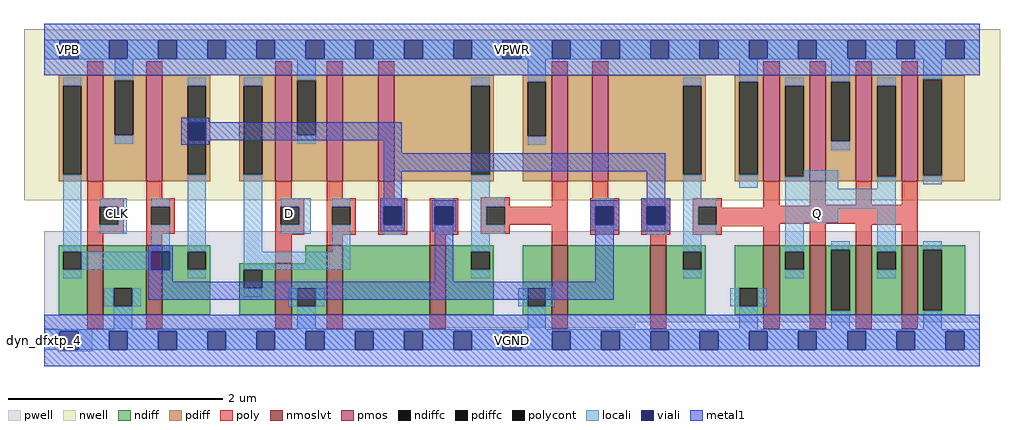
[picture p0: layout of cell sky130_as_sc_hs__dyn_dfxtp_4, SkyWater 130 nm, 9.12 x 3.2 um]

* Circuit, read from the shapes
.subckt sky130_as_sc_hs__dyn_dfxtp_4 VNB VPB VPWR VGND CLK D Q
XM1 VGND CLK n1 VNB sky130_fd_pr__nfet_01v8_lvt w=0.65 l=0.15
XM2 n2 n1 VGND VNB sky130_fd_pr__nfet_01v8_lvt w=0.65 l=0.15
XM3 VGND D n3 VNB sky130_fd_pr__nfet_01v8_lvt w=0.48 l=0.15
XM4 n4 n3 VGND VNB sky130_fd_pr__nfet_01v8_lvt w=0.65 l=0.15
XM5 n5 n1 n4 VNB sky130_fd_pr__nfet_01v8_lvt w=0.65 l=0.15
XM6 n6 n5 VGND VNB sky130_fd_pr__nfet_01v8_lvt w=0.65 l=0.15
XM7 n7 n2 n6 VNB sky130_fd_pr__nfet_01v8_lvt w=0.65 l=0.15
XM8 Q n7 VGND VNB sky130_fd_pr__nfet_01v8_lvt w=0.65 l=0.15 m=4
XM9 VPWR CLK n1 VPB sky130_fd_pr__pfet_01v8 w=0.99 l=0.15
XM10 n2 n1 VPWR VPB sky130_fd_pr__pfet_01v8 w=0.99 l=0.15
XM11 VPWR D n3 VPB sky130_fd_pr__pfet_01v8 w=0.99 l=0.15
XM12 n8 n3 VPWR VPB sky130_fd_pr__pfet_01v8 w=0.99 l=0.15
XM13 n5 n2 n8 VPB sky130_fd_pr__pfet_01v8 w=0.99 l=0.15
XM14 n9 n5 VPWR VPB sky130_fd_pr__pfet_01v8 w=0.99 l=0.15
XM15 n7 n1 n9 VPB sky130_fd_pr__pfet_01v8 w=0.99 l=0.15
XM16 Q n7 VPWR VPB sky130_fd_pr__pfet_01v8 w=0.99 l=0.15 m=4
.ends

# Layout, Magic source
magic
tech sky130A
magscale 1 2
<< nwell >>
rect -38 262 1786 582
<< pwell >>
rect 0 34 1748 204
rect 0 24 1104 34
rect 0 22 736 24
rect 26 -20 90 22
<< pmos >>
rect 80 298 110 496
rect 190 298 220 496
rect 432 298 462 496
rect 528 298 558 496
rect 624 298 654 496
rect 948 298 978 496
rect 1024 298 1054 496
rect 1344 298 1374 496
rect 1430 298 1460 496
rect 1516 298 1546 496
rect 1602 298 1632 496
<< nmoslvt >>
rect 80 48 110 178
rect 190 48 220 178
rect 432 48 462 144
rect 528 48 558 178
rect 720 48 750 178
rect 948 48 978 178
rect 1132 48 1162 178
rect 1344 48 1374 178
rect 1430 48 1460 178
rect 1516 48 1546 178
rect 1602 48 1632 178
<< ndiff >>
rect 27 166 80 178
rect 27 132 35 166
rect 69 132 80 166
rect 27 48 80 132
rect 110 98 190 178
rect 110 64 130 98
rect 164 64 190 98
rect 110 48 190 64
rect 220 166 310 178
rect 220 132 268 166
rect 302 132 310 166
rect 488 144 528 178
rect 220 48 310 132
rect 364 132 432 144
rect 364 98 373 132
rect 407 98 432 132
rect 364 48 432 98
rect 462 98 528 144
rect 462 64 473 98
rect 507 64 528 98
rect 462 48 528 64
rect 558 48 720 178
rect 750 166 840 178
rect 750 132 798 166
rect 832 132 840 166
rect 750 48 840 132
rect 894 98 948 178
rect 894 64 903 98
rect 937 64 948 98
rect 894 48 948 64
rect 978 48 1132 178
rect 1162 166 1236 178
rect 1162 132 1194 166
rect 1228 132 1236 166
rect 1162 48 1236 132
rect 1290 98 1344 178
rect 1290 64 1299 98
rect 1333 64 1344 98
rect 1290 48 1344 64
rect 1374 166 1430 178
rect 1374 132 1385 166
rect 1419 132 1430 166
rect 1374 48 1430 132
rect 1460 170 1516 178
rect 1460 56 1471 170
rect 1505 56 1516 170
rect 1460 48 1516 56
rect 1546 166 1602 178
rect 1546 132 1557 166
rect 1591 132 1602 166
rect 1546 48 1602 132
rect 1632 170 1721 178
rect 1632 56 1643 170
rect 1677 56 1721 170
rect 1632 48 1721 56
<< pdiff >>
rect 27 476 80 496
rect 27 310 35 476
rect 69 310 80 476
rect 27 298 80 310
rect 110 486 190 496
rect 110 384 132 486
rect 166 384 190 486
rect 110 298 190 384
rect 220 476 310 496
rect 220 310 268 476
rect 302 310 310 476
rect 220 298 310 310
rect 364 476 432 496
rect 364 310 373 476
rect 407 310 432 476
rect 364 298 432 310
rect 462 486 528 496
rect 462 384 473 486
rect 507 384 528 486
rect 462 298 528 384
rect 558 298 624 496
rect 654 476 840 496
rect 654 310 798 476
rect 832 310 840 476
rect 654 298 840 310
rect 894 484 948 496
rect 894 382 903 484
rect 937 382 948 484
rect 894 298 948 382
rect 978 298 1024 496
rect 1054 476 1236 496
rect 1054 310 1194 476
rect 1228 310 1236 476
rect 1054 298 1236 310
rect 1290 484 1344 496
rect 1290 310 1299 484
rect 1333 310 1344 484
rect 1290 298 1344 310
rect 1374 476 1430 496
rect 1374 306 1385 476
rect 1419 306 1430 476
rect 1374 298 1430 306
rect 1460 484 1516 496
rect 1460 372 1471 484
rect 1505 372 1516 484
rect 1460 298 1516 372
rect 1546 476 1602 496
rect 1546 306 1557 476
rect 1591 306 1602 476
rect 1546 298 1602 306
rect 1632 488 1720 496
rect 1632 308 1643 488
rect 1677 308 1720 488
rect 1632 298 1720 308
<< ndiffc >>
rect 35 132 69 166
rect 130 64 164 98
rect 268 132 302 166
rect 373 98 407 132
rect 473 64 507 98
rect 798 132 832 166
rect 903 64 937 98
rect 1194 132 1228 166
rect 1299 64 1333 98
rect 1385 132 1419 166
rect 1471 56 1505 170
rect 1557 132 1591 166
rect 1643 56 1677 170
<< pdiffc >>
rect 35 310 69 476
rect 132 384 166 486
rect 268 310 302 476
rect 373 310 407 476
rect 473 384 507 486
rect 798 310 832 476
rect 903 382 937 484
rect 1194 310 1228 476
rect 1299 310 1333 484
rect 1385 306 1419 476
rect 1471 372 1505 484
rect 1557 306 1591 476
rect 1643 308 1677 488
<< poly >>
rect 80 496 110 522
rect 190 496 220 522
rect 432 496 462 522
rect 528 496 558 522
rect 624 496 654 522
rect 948 496 978 522
rect 1024 496 1054 522
rect 1344 496 1374 522
rect 1430 496 1460 522
rect 1516 496 1546 522
rect 1602 496 1632 522
rect 80 266 110 298
rect 190 266 220 298
rect 432 266 462 298
rect 528 266 558 298
rect 624 266 654 298
rect 80 250 148 266
rect 80 216 104 250
rect 138 216 148 250
rect 80 200 148 216
rect 190 250 244 266
rect 190 216 200 250
rect 234 216 244 250
rect 190 200 244 216
rect 432 250 486 266
rect 432 216 442 250
rect 476 216 486 250
rect 80 178 110 200
rect 190 178 220 200
rect 432 198 486 216
rect 528 250 582 266
rect 528 216 538 250
rect 572 216 582 250
rect 528 198 582 216
rect 624 250 678 266
rect 624 216 634 250
rect 668 216 678 250
rect 624 198 678 216
rect 720 250 774 266
rect 720 216 730 250
rect 764 216 774 250
rect 720 198 774 216
rect 816 250 870 268
rect 948 250 978 298
rect 1024 266 1054 298
rect 816 216 826 250
rect 860 216 978 250
rect 816 200 870 216
rect 432 144 462 198
rect 528 178 558 198
rect 720 178 750 198
rect 948 178 978 216
rect 1020 250 1074 266
rect 1020 216 1030 250
rect 1064 216 1074 250
rect 1020 198 1074 216
rect 1116 250 1170 266
rect 1116 216 1126 250
rect 1160 216 1170 250
rect 1116 198 1170 216
rect 1212 250 1266 266
rect 1212 216 1222 250
rect 1256 248 1266 250
rect 1344 252 1374 298
rect 1430 254 1460 298
rect 1516 254 1546 298
rect 1602 254 1632 298
rect 1430 252 1632 254
rect 1344 248 1632 252
rect 1256 218 1632 248
rect 1256 216 1374 218
rect 1212 214 1374 216
rect 1212 198 1266 214
rect 1132 178 1162 198
rect 1344 178 1374 214
rect 1430 178 1460 218
rect 1516 216 1632 218
rect 1516 178 1546 216
rect 1602 178 1632 216
rect 80 22 110 48
rect 190 22 220 48
rect 432 22 462 48
rect 528 22 558 48
rect 720 22 750 48
rect 948 22 978 48
rect 1132 22 1162 48
rect 1344 22 1374 48
rect 1430 22 1460 48
rect 1516 22 1546 48
rect 1602 22 1632 48
<< polycont >>
rect 104 216 138 250
rect 200 216 234 250
rect 442 216 476 250
rect 538 216 572 250
rect 634 216 668 250
rect 730 216 764 250
rect 826 216 860 250
rect 1030 216 1064 250
rect 1126 216 1160 250
rect 1222 216 1256 250
<< locali >>
rect 0 561 1748 562
rect 0 527 29 561
rect 63 527 121 561
rect 155 527 213 561
rect 247 527 305 561
rect 339 527 397 561
rect 431 527 489 561
rect 523 527 581 561
rect 615 527 673 561
rect 707 527 765 561
rect 799 527 857 561
rect 891 527 949 561
rect 983 527 1041 561
rect 1075 527 1133 561
rect 1167 527 1225 561
rect 1259 527 1317 561
rect 1351 527 1409 561
rect 1443 527 1501 561
rect 1535 527 1593 561
rect 1627 527 1685 561
rect 1719 527 1748 561
rect 0 526 1748 527
rect 35 476 69 492
rect 132 486 166 526
rect 132 368 166 384
rect 268 476 302 492
rect 35 166 69 310
rect 104 250 154 266
rect 138 216 154 250
rect 104 200 154 216
rect 200 250 234 266
rect 200 166 234 216
rect 69 132 200 166
rect 268 166 302 310
rect 35 116 69 132
rect 268 116 302 132
rect 373 476 407 492
rect 473 486 507 526
rect 473 368 507 384
rect 798 476 832 492
rect 373 166 407 310
rect 903 484 937 526
rect 903 366 937 382
rect 1194 476 1228 492
rect 798 268 832 310
rect 442 250 498 266
rect 476 216 498 250
rect 442 200 498 216
rect 538 250 572 266
rect 538 166 572 216
rect 634 250 668 266
rect 634 198 668 216
rect 730 250 764 266
rect 730 198 764 216
rect 798 250 860 268
rect 1194 266 1228 310
rect 1299 484 1333 526
rect 1299 286 1333 310
rect 1385 476 1419 492
rect 1471 484 1505 526
rect 1471 356 1505 372
rect 1557 476 1591 492
rect 1419 306 1484 318
rect 1385 284 1484 306
rect 1557 284 1591 306
rect 1643 488 1677 526
rect 1643 292 1677 308
rect 798 216 826 250
rect 798 200 860 216
rect 1030 250 1064 266
rect 373 132 572 166
rect 798 166 832 200
rect 1030 198 1064 216
rect 1126 250 1160 266
rect 1126 198 1160 216
rect 1194 250 1256 266
rect 1194 216 1222 250
rect 1194 198 1256 216
rect 1385 246 1591 284
rect 1385 220 1484 246
rect 798 116 832 132
rect 1194 166 1228 198
rect 1194 116 1228 132
rect 1385 166 1419 220
rect 1385 116 1419 132
rect 1471 170 1505 186
rect 112 64 130 98
rect 164 64 180 98
rect 373 82 407 98
rect 456 64 473 98
rect 507 64 524 98
rect 886 64 903 98
rect 937 64 954 98
rect 1282 64 1299 98
rect 1333 64 1350 98
rect 130 21 164 64
rect 473 21 507 64
rect 903 21 937 64
rect 1299 21 1333 64
rect 1557 166 1591 246
rect 1557 116 1591 132
rect 1643 170 1677 186
rect 1471 21 1505 56
rect 1643 21 1677 56
rect 0 17 1748 21
rect 0 -17 29 17
rect 63 -17 121 17
rect 155 -17 213 17
rect 247 -17 305 17
rect 339 -17 397 17
rect 431 -17 489 17
rect 523 -17 581 17
rect 615 -17 673 17
rect 707 -17 765 17
rect 799 -17 857 17
rect 891 -17 949 17
rect 983 -17 1041 17
rect 1075 -17 1133 17
rect 1167 -17 1225 17
rect 1259 -17 1317 17
rect 1351 -17 1409 17
rect 1443 -17 1501 17
rect 1535 -17 1593 17
rect 1627 -17 1685 17
rect 1719 -17 1748 17
<< viali >>
rect 29 527 63 561
rect 121 527 155 561
rect 213 527 247 561
rect 305 527 339 561
rect 397 527 431 561
rect 489 527 523 561
rect 581 527 615 561
rect 673 527 707 561
rect 765 527 799 561
rect 857 527 891 561
rect 949 527 983 561
rect 1041 527 1075 561
rect 1133 527 1167 561
rect 1225 527 1259 561
rect 1317 527 1351 561
rect 1409 527 1443 561
rect 1501 527 1535 561
rect 1593 527 1627 561
rect 1685 527 1719 561
rect 268 374 302 408
rect 200 132 234 166
rect 634 216 668 250
rect 730 216 764 250
rect 1030 216 1064 250
rect 1126 216 1160 250
rect 29 -17 63 17
rect 121 -17 155 17
rect 213 -17 247 17
rect 305 -17 339 17
rect 397 -17 431 17
rect 489 -17 523 17
rect 581 -17 615 17
rect 673 -17 707 17
rect 765 -17 799 17
rect 857 -17 891 17
rect 949 -17 983 17
rect 1041 -17 1075 17
rect 1133 -17 1167 17
rect 1225 -17 1259 17
rect 1317 -17 1351 17
rect 1409 -17 1443 17
rect 1501 -17 1535 17
rect 1593 -17 1627 17
rect 1685 -17 1719 17
<< metal1 >>
rect 0 561 1748 592
rect 0 527 29 561
rect 63 527 121 561
rect 155 527 213 561
rect 247 527 305 561
rect 339 527 397 561
rect 431 527 489 561
rect 523 527 581 561
rect 615 527 673 561
rect 707 527 765 561
rect 799 527 857 561
rect 891 527 949 561
rect 983 527 1041 561
rect 1075 527 1133 561
rect 1167 527 1225 561
rect 1259 527 1317 561
rect 1351 527 1409 561
rect 1443 527 1501 561
rect 1535 527 1593 561
rect 1627 527 1685 561
rect 1719 527 1748 561
rect 0 496 1748 527
rect 256 408 308 416
rect 256 374 268 408
rect 302 374 668 408
rect 256 366 308 374
rect 634 350 668 374
rect 634 316 1160 350
rect 634 266 668 316
rect 1126 266 1160 316
rect 628 250 674 266
rect 628 216 634 250
rect 668 216 674 250
rect 628 204 674 216
rect 724 250 770 262
rect 724 216 730 250
rect 764 216 770 250
rect 724 204 770 216
rect 1020 250 1074 262
rect 1020 216 1030 250
rect 1064 216 1074 250
rect 1020 206 1074 216
rect 1116 250 1170 266
rect 1116 216 1126 250
rect 1160 216 1170 250
rect 194 166 240 178
rect 194 132 200 166
rect 234 132 240 166
rect 194 110 240 132
rect 730 110 764 204
rect 1030 110 1064 206
rect 1116 204 1170 216
rect 194 76 1064 110
rect 0 17 1748 48
rect 0 -17 29 17
rect 63 -17 121 17
rect 155 -17 213 17
rect 247 -17 305 17
rect 339 -17 397 17
rect 431 -17 489 17
rect 523 -17 581 17
rect 615 -17 673 17
rect 707 -17 765 17
rect 799 -17 857 17
rect 891 -17 949 17
rect 983 -17 1041 17
rect 1075 -17 1133 17
rect 1167 -17 1225 17
rect 1259 -17 1317 17
rect 1351 -17 1409 17
rect 1443 -17 1501 17
rect 1535 -17 1593 17
rect 1627 -17 1685 17
rect 1719 -17 1748 17
rect 0 -48 1748 -17
<< labels >>
rlabel comment s 0 0 0 0 4 dyn_dfxtp_4
flabel pwell s 29 -17 63 17 0 FreeSans 200 0 0 0 VNB
port 1 nsew ground bidirectional
flabel pwell s 46 0 46 0 0 FreeSans 200 0 0 0 VNB
flabel nwell s 29 527 63 561 0 FreeSans 200 0 0 0 VPB
port 2 nsew power bidirectional
flabel nwell s 46 544 46 544 0 FreeSans 200 0 0 0 VPB
flabel metal1 s 29 527 63 561 0 FreeSans 200 0 0 0 VPWR
port 3 nsew power bidirectional abutment
flabel metal1 s 29 -17 63 17 0 FreeSans 200 0 0 0 VGND
port 4 nsew ground bidirectional abutment
rlabel metal1 s 0 -48 1748 48 1 VGND
port 4 nsew ground bidirectional abutment
rlabel metal1 s 0 496 1748 592 1 VPWR
port 3 nsew power bidirectional abutment
flabel locali 119 221 153 255 0 FreeSans 200 0 0 0 CLK
port 5 nsew clock input
flabel locali 136 238 136 238 0 FreeSans 200 0 0 0 CLK
flabel locali 442 221 476 255 0 FreeSans 200 0 0 0 D
port 6 nsew signal input
flabel locali 459 238 459 238 0 FreeSans 200 0 0 0 D
flabel locali 1428 221 1462 255 0 FreeSans 200 0 0 0 Q
port 7 nsew signal output
flabel locali 1445 238 1445 238 0 FreeSans 200 0 0 0 Q
<< properties >>
string FIXED_BBOX 0 0 1748 544
string GDS_FILE $PDKPATH/libs.ref/sky130_as_sc_hs/gds/sky130_as_sc_hs__dyn_dfxtp_4.gds
string LEFclass CORE
string LEFsite unithd
string LEFsymmetry X Y R90
string MASKHINTS_LVTN 0 -4 1748 220
string MASKHINTS_NSDM 0 -38 1748 209
string MASKHINTS_PSDM 0 273 1748 582
<< end >>
